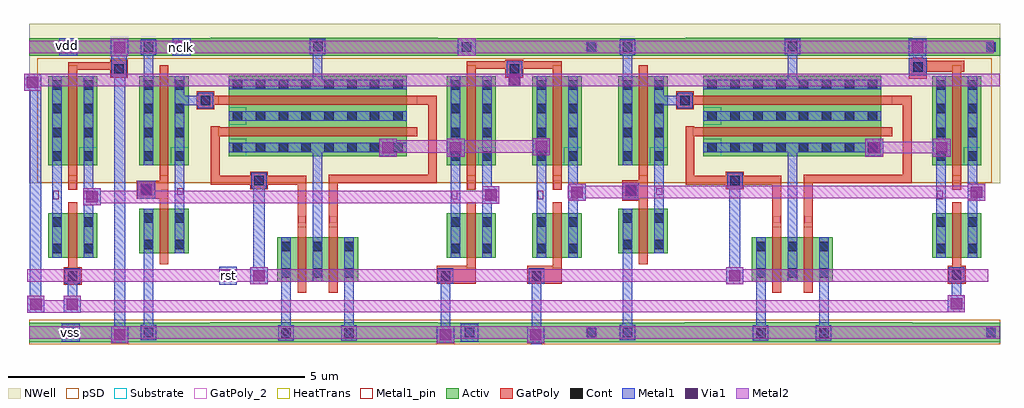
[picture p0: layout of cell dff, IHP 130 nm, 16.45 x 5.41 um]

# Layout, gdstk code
from math import pi, radians
import gdstk
lib = gdstk.Library(unit=1e-6, precision=5e-09)
def R(c, l, rs):  # rectangles x0, y0, x1, y1
    for r in rs: c.add(gdstk.rectangle(r[:2], r[2:], *l))
def A(c, l, x, y, w, h, nx, ny, dx, dy):  # array of equal rectangles
    R(c, l, [(x+i*dx, y+j*dy, x+i*dx+w, y+j*dy+h) for i in range(nx) for j in range(ny)])
def P(c, l, *ps):  # polygons
    for p in ps: c.add(gdstk.Polygon(p, *l))
Activ = (1, 0)
GatPoly = (5, 0)
GatPoly_2 = (5, 2)
Cont = (6, 0)
Metal1 = (8, 0)
Metal1_pin = (8, 2)
Metal2 = (10, 0)
pSD = (14, 0)
Via1 = (19, 0)
NWell = (31, 0)
Substrate = (40, 0)
HeatTrans = (51, 0)

nmos_5_2 = lib.new_cell('nmos$5$2')
R(nmos_5_2, Activ, [(0,0,0.3,0.3), (0,0,0.83,0.75), (0.53,0,0.83,0.3)])
R(nmos_5_2, GatPoly, [(0.34,-0.18,0.49,0.93)])
R(nmos_5_2, GatPoly_2, [(0.34,-0.18,0.49,0.93)])
R(nmos_5_2, Cont, [(0.07,0.07,0.23,0.23), (0.6,0.07,0.76,0.23), (0.07,0.52,0.23,0.68), (0.6,0.52,0.76,0.68)])
R(nmos_5_2, Metal1, [(0.07,0,0.23,0.75), (0.6,0,0.76,0.75)])
R(nmos_5_2, Metal1_pin, [(0.07,0,0.23,0.75), (0.6,0,0.76,0.75)])
R(nmos_5_2, HeatTrans, [(0.34,-0.18,0.49,0.93)])
nmos_5_2.add(gdstk.Label('nmos', (0.415,0.375), layer=63, texttype=0))
nmos_5_2.add(gdstk.Label('nmos', (0.415,0.375), layer=51, texttype=0))

pmos_5_1 = lib.new_cell('pmos$5$1')
R(pmos_5_1, Activ, [(0,0,0.3,0.3), (0,0,0.83,3), (0.53,0,0.83,0.3)])
R(pmos_5_1, GatPoly, [(0.34,-0.18,0.49,3.18), (0.34,-0.18,0.49,3.18)])
A(pmos_5_1, Cont, 0.07, 0.07, 0.16, 0.16, 1, 7, 0, 0.385)
A(pmos_5_1, Cont, 0.6, 0.07, 0.16, 0.16, 1, 7, 0, 0.385)
R(pmos_5_1, Cont, [(0.07,2.77,0.23,2.93), (0.6,2.77,0.76,2.93)])
R(pmos_5_1, Metal1, [(0.07,0,0.23,3), (0.07,0,0.23,3), (0.6,0,0.76,3), (0.6,0,0.76,3)])
R(pmos_5_1, pSD, [(-0.18,-0.3,1.01,3.3)])
R(pmos_5_1, NWell, [(-0.31,-0.31,1.14,3.31)])
R(pmos_5_1, Substrate, [(0.53,0,0.83,0.3)])
R(pmos_5_1, HeatTrans, [(0.34,-0.18,0.49,3.18)])
pmos_5_1.add(gdstk.Label('pmos', (0.415,1.5), layer=63, texttype=0))
pmos_5_1.add(gdstk.Label('pmos', (0.415,1.5), layer=51, texttype=0))

norgate_1 = lib.new_cell('norgate$1')
R(norgate_1, Activ, [(-1.48,-2.5,2.355,-2.17), (-1.47,2.325,2.355,2.625)])
R(norgate_1, GatPoly, [(-0.01,-0.56,0.14,0.15), (0.52,-0.56,0.67,0.17), (-1.47,0.15,0.14,0.3), (0.52,0.17,2.19,0.32), (2.19,0.17,2.34,1.645), (-1.47,0.3,-1.32,1.135), (-1.47,0.965,-1.35,1.135), (2.01,1.495,2.19,1.645)])
R(norgate_1, GatPoly_2, [(0.005,-0.49,0.13,-0.38), (0.535,-0.49,0.66,-0.38)])
R(norgate_1, Cont, [(-0.28,-2.43,-0.12,-2.27), (-0.28,-2.43,-0.12,-2.27), (0.78,-2.43,0.94,-2.27), (0.78,-2.43,0.94,-2.27), (0.255,2.395,0.415,2.555)])
R(norgate_1, Metal1, [(-0.335,-2.48,-0.075,-2.22), (0.725,-2.48,0.985,-2.22), (-0.28,-2.43,-0.12,-0.74), (0.78,-2.43,0.94,-0.74), (0.25,-0.74,0.41,0.695), (0.25,1.915,0.41,2.345), (0.2,2.345,0.46,2.605)])
R(norgate_1, Metal1_pin, [(-0.25,-2.39,-0.17,-2.3), (0.81,-2.39,0.89,-2.3), (0.255,2.395,0.415,2.555)])
R(norgate_1, pSD, [(-1.48,-2.54,2.355,-2.125)])
R(norgate_1, NWell, [(-1.47,0.315,2.355,2.865), (-1.47,2.295,2.355,2.865)])
norgate_1.add(gdstk.Reference(nmos_5_2, (1.01,-0.74), rotation=pi))
norgate_1.add(gdstk.Reference(nmos_5_2, (-0.35,-1.49)))
norgate_1.add(gdstk.Reference(pmos_5_1, (-1.17,1.985), rotation=3*pi/2))
norgate_1.add(gdstk.Reference(pmos_5_1, (-1.17,1.455), rotation=3*pi/2))
norgate_1.add(gdstk.Label('vdd', (0.325,2.5), layer=8, texttype=2))
norgate_1.add(gdstk.Label('vss', (-0.22,-2.335), layer=8, texttype=2))
norgate_1.add(gdstk.Label('vss', (0.84,-2.335), layer=8, texttype=2))
norgate_1.add(gdstk.Label('b', (0.07,-0.44), layer=5, texttype=2))
norgate_1.add(gdstk.Label('a', (0.6,-0.44), layer=5, texttype=2))

nmos_1 = lib.new_cell('nmos$1')
R(nmos_1, Activ, [(0,0,0.3,0.3), (0,0,0.83,0.75), (0.53,0,0.83,0.3)])
R(nmos_1, GatPoly, [(0.34,-0.18,0.49,0.93)])
R(nmos_1, GatPoly_2, [(0.34,-0.18,0.49,0.93)])
R(nmos_1, Cont, [(0.07,0.07,0.23,0.23), (0.6,0.07,0.76,0.23), (0.07,0.52,0.23,0.68), (0.6,0.52,0.76,0.68)])
R(nmos_1, Metal1, [(0.07,0,0.23,0.75), (0.6,0,0.76,0.75)])
R(nmos_1, Metal1_pin, [(0.07,0,0.23,0.75), (0.6,0,0.76,0.75)])
R(nmos_1, HeatTrans, [(0.34,-0.18,0.49,0.93)])
nmos_1.add(gdstk.Label('nmos', (0.415,0.375), layer=63, texttype=0))
nmos_1.add(gdstk.Label('nmos', (0.415,0.375), layer=51, texttype=0))

pmos_2 = lib.new_cell('pmos$2')
R(pmos_2, Activ, [(0,0,0.3,0.3), (0,0,0.83,1.5), (0.53,0,0.83,0.3)])
R(pmos_2, GatPoly, [(0.34,-0.18,0.49,1.68), (0.34,-0.18,0.49,1.68)])
A(pmos_2, Cont, 0.07, 0.07, 0.16, 0.16, 1, 4, 0, 0.4)
A(pmos_2, Cont, 0.6, 0.07, 0.16, 0.16, 1, 4, 0, 0.4)
R(pmos_2, Metal1, [(0.07,0,0.23,1.5), (0.07,0,0.23,1.5), (0.6,0,0.76,1.5), (0.6,0,0.76,1.5)])
R(pmos_2, pSD, [(-0.18,-0.3,1.01,1.8)])
R(pmos_2, NWell, [(-0.31,-0.31,1.14,1.81)])
R(pmos_2, Substrate, [(0.53,0,0.83,0.3)])
R(pmos_2, HeatTrans, [(0.34,-0.18,0.49,1.68)])
pmos_2.add(gdstk.Label('pmos', (0.415,0.75), layer=63, texttype=0))
pmos_2.add(gdstk.Label('pmos', (0.415,0.75), layer=51, texttype=0))

inverter_1 = lib.new_cell('inverter$1')
R(inverter_1, Activ, [(-0.925,-2.62,0.525,-2.29), (-0.925,2.205,0.525,2.505)])
R(inverter_1, GatPoly, [(-0.275,-0.195,-0.125,0.185)])
R(inverter_1, GatPoly_2, [(-0.25,-0.14,-0.155,-0.04)])
R(inverter_1, Cont, [(-0.545,-2.535,-0.385,-2.375), (-0.545,-2.535,-0.385,-2.375), (-0.545,2.275,-0.385,2.435)])
R(inverter_1, Metal1, [(-0.595,-2.585,-0.335,-2.325), (-0.545,-2.325,-0.385,-0.845), (-0.015,-0.375,0.145,0.365), (-0.545,1.865,-0.385,2.275), (-0.595,2.225,-0.335,2.485)])
R(inverter_1, Metal1_pin, [(0.02,-0.135,0.12,-0.03)])
R(inverter_1, pSD, [(-0.925,-2.66,0.525,-2.245)])
R(inverter_1, NWell, [(-0.925,2.175,0.525,2.745)])
inverter_1.add(gdstk.Reference(nmos_1, (-0.615,-1.125)))
inverter_1.add(gdstk.Reference(pmos_2, (-0.615,0.365)))
inverter_1.add(gdstk.Label('vss', (-0.475,-2.43), layer=8, texttype=2))
inverter_1.add(gdstk.Label('vdd', (-0.465,2.355), layer=8, texttype=2))
inverter_1.add(gdstk.Label('out', (0.06,-0.09), layer=8, texttype=2))
inverter_1.add(gdstk.Label('in', (-0.205,-0.09), layer=5, texttype=2))

nmos_5_3 = lib.new_cell('nmos$5$3')
R(nmos_5_3, Activ, [(0,0,0.3,0.3), (0,0,0.83,0.75), (0.53,0,0.83,0.3)])
R(nmos_5_3, GatPoly, [(0.34,-0.18,0.49,0.93)])
R(nmos_5_3, GatPoly_2, [(0.34,-0.18,0.49,0.93)])
R(nmos_5_3, Cont, [(0.07,0.07,0.23,0.23), (0.6,0.07,0.76,0.23), (0.07,0.52,0.23,0.68), (0.6,0.52,0.76,0.68)])
R(nmos_5_3, Metal1, [(0.07,0,0.23,0.75), (0.6,0,0.76,0.75)])
R(nmos_5_3, Metal1_pin, [(0.07,0,0.23,0.75), (0.6,0,0.76,0.75)])
R(nmos_5_3, HeatTrans, [(0.34,-0.18,0.49,0.93)])
nmos_5_3.add(gdstk.Label('nmos', (0.415,0.375), layer=63, texttype=0))
nmos_5_3.add(gdstk.Label('nmos', (0.415,0.375), layer=51, texttype=0))

pmos_3 = lib.new_cell('pmos$3')
R(pmos_3, Activ, [(0,0,0.3,0.3), (0,0,0.83,1.5), (0.53,0,0.83,0.3)])
R(pmos_3, GatPoly, [(0.34,-0.18,0.49,1.68), (0.34,-0.18,0.49,1.68)])
A(pmos_3, Cont, 0.07, 0.07, 0.16, 0.16, 1, 4, 0, 0.4)
A(pmos_3, Cont, 0.6, 0.07, 0.16, 0.16, 1, 4, 0, 0.4)
R(pmos_3, Metal1, [(0.07,0,0.23,1.5), (0.07,0,0.23,1.5), (0.6,0,0.76,1.5), (0.6,0,0.76,1.5)])
R(pmos_3, pSD, [(-0.18,-0.3,1.01,1.8)])
R(pmos_3, NWell, [(-0.31,-0.31,1.14,1.81)])
R(pmos_3, Substrate, [(0.53,0,0.83,0.3)])
R(pmos_3, HeatTrans, [(0.34,-0.18,0.49,1.68)])
pmos_3.add(gdstk.Label('pmos', (0.415,0.75), layer=63, texttype=0))
pmos_3.add(gdstk.Label('pmos', (0.415,0.75), layer=51, texttype=0))

transmissiongate_1 = lib.new_cell('transmissiongate$1')
R(transmissiongate_1, Activ, [(2.295,-2.62,3.745,-2.29), (2.315,2.205,3.745,2.505)])
R(transmissiongate_1, GatPoly, [(2.945,-0.055,3.095,0.185)])
R(transmissiongate_1, GatPoly_2, [(2.98,-0.43,3.09,-0.27), (2.96,-0.055,3.08,0.105)])
R(transmissiongate_1, Cont, [(2.91,-2.54,3.07,-2.38), (2.86,2.275,3.02,2.435)])
R(transmissiongate_1, Metal1, [(2.91,-2.54,3.07,-2.38), (2.91,-2.54,3.07,-2.38), (2.675,-0.445,2.835,-0.21), (3.205,-0.445,3.365,-0.21), (2.675,-0.21,2.835,0.365), (3.205,-0.21,3.365,0.365), (2.86,2.275,3.02,2.435)])
R(transmissiongate_1, Metal1_pin, [(2.91,-2.54,3.07,-2.38), (2.69,-0.21,2.785,-0.07), (3.205,-0.21,3.365,-0.07), (2.86,2.275,3.02,2.435)])
R(transmissiongate_1, pSD, [(2.295,-2.66,3.745,-2.245)])
R(transmissiongate_1, NWell, [(2.295,2.175,3.745,2.745)])
transmissiongate_1.add(gdstk.Reference(nmos_5_3, (2.605,-1.195)))
transmissiongate_1.add(gdstk.Reference(pmos_3, (2.605,0.365)))
transmissiongate_1.add(gdstk.Label('vdd', (2.93,2.38), layer=8, texttype=2))
transmissiongate_1.add(gdstk.Label('vss', (2.985,-2.46), layer=8, texttype=2))
transmissiongate_1.add(gdstk.Label('out', (3.285,-0.14), layer=8, texttype=2))
transmissiongate_1.add(gdstk.Label('in', (2.73,-0.14), layer=8, texttype=2))
transmissiongate_1.add(gdstk.Label('en', (3.015,-0.355), layer=5, texttype=2))
transmissiongate_1.add(gdstk.Label('noten', (3.025,0.02), layer=5, texttype=2))

nmos_5 = lib.new_cell('nmos$5')
R(nmos_5, Activ, [(0,0,0.3,0.3), (0,0,0.83,0.75), (0.53,0,0.83,0.3)])
R(nmos_5, GatPoly, [(0.34,-0.18,0.49,0.93)])
R(nmos_5, GatPoly_2, [(0.34,-0.18,0.49,0.93)])
R(nmos_5, Cont, [(0.07,0.07,0.23,0.23), (0.6,0.07,0.76,0.23), (0.07,0.52,0.23,0.68), (0.6,0.52,0.76,0.68)])
R(nmos_5, Metal1, [(0.07,0,0.23,0.75), (0.6,0,0.76,0.75)])
R(nmos_5, Metal1_pin, [(0.07,0,0.23,0.75), (0.6,0,0.76,0.75)])
R(nmos_5, HeatTrans, [(0.34,-0.18,0.49,0.93)])
nmos_5.add(gdstk.Label('nmos', (0.415,0.375), layer=63, texttype=0))
nmos_5.add(gdstk.Label('nmos', (0.415,0.375), layer=51, texttype=0))

pmos = lib.new_cell('pmos')
R(pmos, Activ, [(0,0,0.3,0.3), (0,0,0.83,1.5), (0.53,0,0.83,0.3)])
R(pmos, GatPoly, [(0.34,-0.18,0.49,1.68), (0.34,-0.18,0.49,1.68)])
A(pmos, Cont, 0.07, 0.07, 0.16, 0.16, 1, 4, 0, 0.4)
A(pmos, Cont, 0.6, 0.07, 0.16, 0.16, 1, 4, 0, 0.4)
R(pmos, Metal1, [(0.07,0,0.23,1.5), (0.07,0,0.23,1.5), (0.6,0,0.76,1.5), (0.6,0,0.76,1.5)])
R(pmos, pSD, [(-0.18,-0.3,1.01,1.8)])
R(pmos, NWell, [(-0.31,-0.31,1.14,1.81)])
R(pmos, Substrate, [(0.53,0,0.83,0.3)])
R(pmos, HeatTrans, [(0.34,-0.18,0.49,1.68)])
pmos.add(gdstk.Label('pmos', (0.415,0.75), layer=63, texttype=0))
pmos.add(gdstk.Label('pmos', (0.415,0.75), layer=51, texttype=0))

transmissiongate = lib.new_cell('transmissiongate')
R(transmissiongate, Activ, [(2.295,-2.62,3.745,-2.29), (2.315,2.205,3.745,2.505)])
R(transmissiongate, GatPoly, [(2.945,-0.055,3.095,0.185)])
R(transmissiongate, GatPoly_2, [(2.98,-0.43,3.09,-0.27), (2.96,-0.055,3.08,0.105)])
R(transmissiongate, Cont, [(3.52,-2.54,3.68,-2.38), (3.52,2.275,3.68,2.435)])
R(transmissiongate, Metal1, [(3.52,-2.54,3.68,-2.38), (3.52,-2.54,3.68,-2.38), (2.675,-0.445,2.835,-0.21), (3.205,-0.445,3.365,-0.21), (2.675,-0.21,2.835,0.365), (3.205,-0.21,3.365,0.365), (3.52,2.275,3.68,2.435)])
R(transmissiongate, Metal1_pin, [(3.52,-2.54,3.68,-2.38), (2.69,-0.21,2.785,-0.07), (3.205,-0.21,3.365,-0.07), (3.52,2.275,3.68,2.435)])
R(transmissiongate, pSD, [(2.295,-2.66,3.745,-2.245)])
R(transmissiongate, NWell, [(2.295,2.175,3.745,2.745)])
transmissiongate.add(gdstk.Reference(nmos_5, (2.605,-1.195)))
transmissiongate.add(gdstk.Reference(pmos, (2.605,0.365)))
transmissiongate.add(gdstk.Label('vdd', (3.59,2.38), layer=8, texttype=2))
transmissiongate.add(gdstk.Label('vss', (3.595,-2.46), layer=8, texttype=2))
transmissiongate.add(gdstk.Label('out', (3.285,-0.14), layer=8, texttype=2))
transmissiongate.add(gdstk.Label('in', (2.73,-0.14), layer=8, texttype=2))
transmissiongate.add(gdstk.Label('en', (3.015,-0.355), layer=5, texttype=2))
transmissiongate.add(gdstk.Label('noten', (3.025,0.02), layer=5, texttype=2))

dff = lib.new_cell('dff')
R(dff, Activ, [(2.745,-2.62,19.105,-2.29), (2.745,2.205,19.105,2.505)])
R(dff, GatPoly, [(3.325,-1.655,3.625,-1.355), (9.61,-1.64,10.27,-1.33), (11.14,-1.635,11.715,-1.33), (18.225,-1.635,18.525,-1.335), (12.735,-0.235,13.015,0.105), (4.555,-0.2,4.94,0.1), (6.465,-0.045,6.765,0.255), (14.485,-0.045,14.785,0.255), (5.565,1.305,5.865,1.605), (5.865,1.38,5.925,1.53), (13.685,1.38,13.925,1.53), (17.57,1.815,17.87,2.17), (4.105,1.835,4.405,2.135), (10.77,1.835,11.07,2.135), (17.65,1.935,18.275,2.125), (18.275,1.935,18.5,2.125), (3.4,1.97,4.14,2.1), (10.12,1.985,10.77,2.115), (11.07,1.985,11.715,2.115)])
P(dff, GatPoly, [(13.645,1.305),(13.645,1.345),(13.645,1.605),(13.945,1.605),(13.945,1.305)],
  [(10.2,-1.585),(10.2,-1.375),(10.2,-1.375),(10.2,-1.585)])
R(dff, Cont, [(3.365,-2.54,3.525,-2.38), (3.365,-2.54,3.525,-2.38), (3.365,-2.54,3.525,-2.38), (3.365,-2.54,3.525,-2.38), (3.395,-1.585,3.555,-1.425), (9.68,-1.585,9.84,-1.425), (11.21,-1.585,11.37,-1.425), (18.295,-1.565,18.455,-1.405), (12.805,-0.145,12.965,0.015), (4.635,-0.13,4.795,0.03), (6.535,0.025,6.695,0.185), (14.555,0.025,14.715,0.185), (5.635,1.375,5.795,1.535), (13.715,1.375,13.875,1.535), (4.175,1.905,4.335,2.065), (10.84,1.905,11,2.065), (17.64,1.94,17.8,2.1), (3.32,2.275,3.48,2.435), (3.32,2.275,3.48,2.435), (3.32,2.275,3.48,2.435), (3.32,2.275,3.48,2.435)])
R(dff, Metal1, [(11.21,-2.66,11.37,-1.405), (4.125,-2.64,4.415,-2.35), (9.615,-2.64,9.905,-2.35), (11.135,-2.64,11.425,-2.35), (3.295,-2.61,3.595,-2.31), (10.015,-2.61,10.315,-2.31), (3.365,-2.54,3.525,-2.38), (3.365,-2.54,3.525,-2.38), (3.365,-2.54,3.525,-2.38), (3.365,-2.54,3.525,-2.38), (3.365,-2.54,3.525,-2.38), (3.365,-2.54,3.525,-2.38), (3.365,-2.54,3.525,-2.38), (3.365,-2.54,3.525,-2.38), (4.175,-2.35,4.365,2.33), (9.68,-2.35,9.84,-1.375), (2.71,-2.125,3,-1.835), (3.325,-2.125,3.615,-1.835), (18.225,-2.12,18.515,-1.83), (2.755,-1.835,2.945,1.615), (3.395,-1.835,3.555,-1.405), (18.295,-1.83,18.455,-1.405), (5.945,-1.65,6.245,-1.35), (6.47,-1.645,6.76,-1.355), (14.49,-1.645,14.78,-1.355), (3.345,-1.635,3.605,-1.375), (9.63,-1.635,9.89,-1.375), (11.16,-1.635,11.42,-1.375), (18.245,-1.615,18.505,-1.355), (5.98,-1.605,6.21,-1.395), (5.98,-1.605,6.215,-1.395), (6.52,-1.595,6.71,-0.025), (14.54,-1.595,14.73,0.185), (3.655,-0.315,3.945,-0.025), (10.375,-0.285,10.665,0.005), (11.83,-0.24,12.12,0.05), (18.565,-0.24,18.855,0.05), (4.565,-0.2,4.865,0.1), (12.745,-0.195,13.005,0.065), (12.805,-0.145,12.965,0.015), (6.485,-0.025,6.745,0.235), (14.505,-0.025,14.765,0.235), (8.64,0.505,8.94,0.805), (9.78,0.505,10.08,0.805), (16.835,0.505,17.135,0.805), (17.975,0.505,18.275,0.805), (11.23,0.53,11.52,0.82), (5.585,1.325,5.845,1.585), (13.665,1.325,13.925,1.585), (5.195,1.375,5.795,1.535), (13.275,1.375,13.875,1.535), (2.655,1.615,2.945,1.905), (10.84,1.72,11,2.065), (4.125,1.855,4.385,2.2), (10.79,1.855,11.05,2.115), (17.57,1.87,17.87,2.17), (4.16,1.885,4.345,2.115), (17.64,1.94,17.8,2.1), (17.64,2.1,17.8,2.44), (17.565,2.195,17.865,2.495), (4.12,2.2,4.41,2.49), (3.25,2.205,3.55,2.505), (5.165,2.205,5.465,2.505), (9.965,2.205,10.265,2.505), (3.305,2.265,3.495,2.445), (3.32,2.275,3.48,2.435), (3.32,2.275,3.48,2.435), (3.32,2.275,3.48,2.435), (3.32,2.275,3.48,2.435)])
R(dff, Metal1_pin, [(3.365,-2.54,3.525,-2.38), (3.365,-2.54,3.525,-2.38), (3.365,-2.54,3.525,-2.38), (3.365,-2.54,3.525,-2.38), (5.98,-1.605,6.21,-1.395), (5.2,2.25,5.43,2.46), (3.32,2.275,3.48,2.435), (3.32,2.275,3.48,2.435), (3.32,2.275,3.48,2.435), (3.32,2.275,3.48,2.435)])
R(dff, Metal2, [(4.125,-2.64,4.415,-2.35), (9.615,-2.64,9.905,-2.35), (11.135,-2.64,11.425,-2.35), (2.745,-2.56,19.1,-2.35), (2.71,-2.125,3,-1.835), (3,-2.125,3.325,-1.915), (3.325,-2.125,3.615,-1.835), (3.615,-2.12,18.225,-1.915), (18.225,-2.12,18.515,-1.83), (6.47,-1.645,6.76,-1.355), (14.49,-1.645,14.78,-1.355), (2.71,-1.605,18.905,-1.395), (3.655,-0.315,3.945,-0.025), (10.375,-0.285,10.665,0.005), (3.655,-0.28,10.545,-0.07), (11.83,-0.24,12.12,0.05), (18.565,-0.24,18.855,0.05), (12.735,-0.22,13.025,0.07), (4.57,-0.195,4.86,0.095), (11.82,-0.195,18.705,0.015), (8.64,0.505,8.94,0.805), (9.78,0.505,10.08,0.805), (16.835,0.505,17.135,0.805), (17.975,0.505,18.275,0.805), (11.23,0.53,11.52,0.82), (16.9,0.56,18.205,0.76), (8.685,0.57,11.23,0.78), (2.655,1.615,2.945,1.905), (2.945,1.695,19.1,1.905), (4.12,2.2,4.41,2.49), (9.965,2.205,10.265,2.505), (2.745,2.25,19,2.46)])
R(dff, pSD, [(2.745,-2.66,19.105,-2.245), (2.88,0.065,18.97,2.165)])
R(dff, Via1, [(4.175,-2.59,4.365,-2.4), (9.665,-2.59,9.855,-2.4), (11.185,-2.59,11.375,-2.4), (2.76,-2.075,2.95,-1.885), (3.375,-2.075,3.565,-1.885), (18.275,-2.07,18.465,-1.88), (6.005,-1.595,6.195,-1.405), (6.52,-1.595,6.71,-1.405), (14.54,-1.595,14.73,-1.405), (3.705,-0.265,3.895,-0.075), (10.43,-0.235,10.62,-0.045), (11.88,-0.19,12.07,0), (18.615,-0.19,18.805,0), (12.79,-0.16,12.98,0.03), (4.62,-0.145,4.81,0.045), (8.695,0.56,8.885,0.75), (9.835,0.56,10.025,0.75), (16.89,0.56,17.08,0.75), (18.03,0.56,18.22,0.75), (9.85,0.575,10.01,0.735), (11.28,0.58,11.47,0.77), (2.705,1.665,2.895,1.855), (10.825,1.695,11.015,1.885), (4.17,2.25,4.36,2.44), (17.62,2.25,17.81,2.44), (5.225,2.26,5.415,2.45)])
R(dff, NWell, [(2.745,0.055,19.105,2.75), (2.745,2.205,19.105,2.745)])
dff.add(gdstk.Reference(norgate_1, (7.275,-0.115)))
dff.add(gdstk.Reference(inverter_1, (5.215,0)))
dff.add(gdstk.Reference(norgate_1, (15.275,-0.115)))
dff.add(gdstk.Reference(inverter_1, (13.29,0)))
dff.add(gdstk.Reference(transmissiongate_1, (0.455,0)))
dff.add(gdstk.Reference(transmissiongate_1, (7.175,0)))
dff.add(gdstk.Reference(transmissiongate, (8.62,0)))
dff.add(gdstk.Reference(transmissiongate, (15.355,0)))
dff.add(gdstk.Label('vss', (3.44,-2.46), layer=8, texttype=2))
dff.add(gdstk.Label('vss', (3.44,-2.46), layer=8, texttype=2))
dff.add(gdstk.Label('vss', (3.44,-2.46), layer=8, texttype=2))
dff.add(gdstk.Label('vss', (3.44,-2.46), layer=8, texttype=2))
dff.add(gdstk.Label('vdd', (3.39,2.38), layer=8, texttype=2))
dff.add(gdstk.Label('vdd', (3.39,2.38), layer=8, texttype=2))
dff.add(gdstk.Label('vdd', (3.39,2.38), layer=8, texttype=2))
dff.add(gdstk.Label('vdd', (3.39,2.38), layer=8, texttype=2))
dff.add(gdstk.Label('rst', (6.095,-1.5), layer=8, texttype=2))
dff.add(gdstk.Label('nclk', (5.315,2.34), layer=8, texttype=2))

lib.write_gds('dff.gds')
